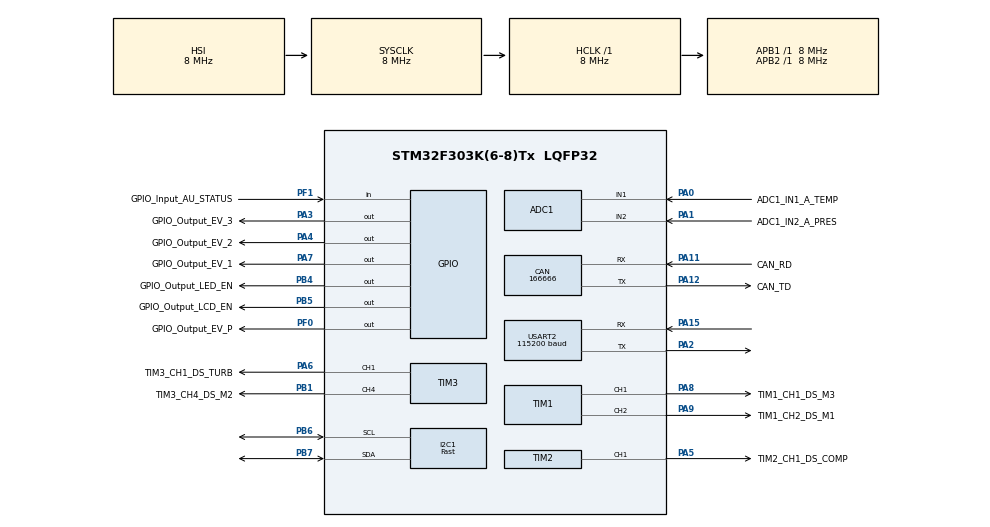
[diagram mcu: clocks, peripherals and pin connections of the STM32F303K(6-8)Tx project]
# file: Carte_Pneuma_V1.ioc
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ADC1.Channel-0\#ChannelRegularConversion=ADC_CHANNEL_1
ADC1.NbrOfConversionFlag=1
ADC1.Offset-0\#ChannelRegularConversion=0
ADC1.OffsetNumber-0\#ChannelRegularConversion=ADC_OFFSET_NONE
ADC1.Rank-0\#ChannelRegularConversion=1
ADC1.SamplingTime-0\#ChannelRegularConversion=ADC_SAMPLETIME_1CYCLE_5
ADC1.SamplingTimeOPAMP-0\#ChannelRegularConversion=ADC_SAMPLETIME_4CYCLES_5
ADC1.SingleDiff-0\#ChannelRegularConversion=ADC_DIFFERENTIAL_ENDED
ADC1.SubFamily=STM32F303x8
ADC1.master=1
CAN.CalculateBaudRate=166666
CAN.CalculateTimeBit=6000
CAN.CalculateTimeQuantum=2000.0
Dma.Request0=TIM1_CH1
Dma.TIM1_CH1.0.Direction=DMA_PERIPH_TO_MEMORY
Dma.TIM1_CH1.0.Instance=DMA1_Channel2
Dma.TIM1_CH1.0.MemDataAlignment=DMA_MDATAALIGN_HALFWORD
Dma.TIM1_CH1.0.MemInc=DMA_MINC_ENABLE
Dma.TIM1_CH1.0.Mode=DMA_NORMAL
Dma.TIM1_CH1.0.PeriphDataAlignment=DMA_PDATAALIGN_HALFWORD
Dma.TIM1_CH1.0.PeriphInc=DMA_PINC_DISABLE
Dma.TIM1_CH1.0.Priority=DMA_PRIORITY_LOW
I2C1.I2C_Speed_Mode=I2C_Fast
I2C1.Timing=0x0000020B
Mcu.Family=STM32F3
Mcu.Name=STM32F303K(6-8)Tx
Mcu.Package=LQFP32
NVIC.DMA1_Channel2_IRQn=true\:0\:0\:false\:false\:true\:false\:true\:true
NVIC.PriorityGroup=NVIC_PRIORITYGROUP_4
PA0.GPIO_Label=ADC1_IN1_A_TEMP
PA0.Mode=IN1-Differential
PA0.Signal=ADC1_IN1
PA1.GPIO_Label=ADC1_IN2_A_PRES
PA1.Mode=IN1-Differential
PA1.Signal=ADC1_IN2
PA11.GPIO_Label=CAN_RD
PA11.Mode=CAN_Activate
PA11.Signal=CAN_RX
PA12.GPIO_Label=CAN_TD
PA12.Mode=CAN_Activate
PA12.Signal=CAN_TX
PA15.Mode=Asynchronous
PA15.Signal=USART2_RX
PA2.Mode=Asynchronous
PA2.Signal=USART2_TX
PA3.GPIO_Label=GPIO_Output_EV_3
PA3.Signal=GPIO_Output
PA4.GPIO_Label=GPIO_Output_EV_2
PA4.Signal=GPIO_Output
PA5.GPIO_Label=TIM2_CH1_DS_COMP
PA5.Signal=S_TIM2_CH1_ETR
PA6.GPIO_Label=TIM3_CH1_DS_TURB
PA6.Signal=S_TIM3_CH1
PA7.GPIO_Label=GPIO_Output_EV_1
PA7.Signal=GPIO_Output
PA8.GPIO_Label=TIM1_CH1_DS_M3
PA8.Signal=S_TIM1_CH1
PA9.GPIO_Label=TIM1_CH2_DS_M1
PA9.Signal=S_TIM1_CH2
PB1.GPIO_Label=TIM3_CH4_DS_M2
PB1.Signal=S_TIM3_CH4
PB4.GPIO_Label=GPIO_Output_LED_EN
PB4.Signal=GPIO_Output
PB5.GPIO_Label=GPIO_Output_LCD_EN
PB5.Signal=GPIO_Output
PB6.Mode=I2C
PB6.Signal=I2C1_SCL
PB7.Mode=I2C
PB7.Signal=I2C1_SDA
PF0\ /\ OSC_IN.GPIO_Label=GPIO_Output_EV_P
PF0\ /\ OSC_IN.Signal=GPIO_Output
PF1\ /\ OSC_OUT.GPIO_Label=GPIO_Input_AU_STATUS
PF1\ /\ OSC_OUT.Signal=GPIO_Input
ProjectManager.HeapSize=0x200
ProjectManager.StackSize=0x400
ProjectManager.TargetToolchain=STM32CubeIDE
RCC.AHBFreq_Value=8000000
RCC.APB1Freq_Value=8000000
RCC.APB2Freq_Value=8000000
RCC.CortexFreq_Value=8000000
RCC.HSE_VALUE=8000000
RCC.HSI_VALUE=8000000
RCC.PLLMUL=RCC_PLL_MUL4
RCC.SYSCLKFreq_VALUE=8000000
SH.S_TIM1_CH1.0=TIM1_CH1,PWM Generation1 CH1
SH.S_TIM1_CH2.0=TIM1_CH2,PWM Generation2 CH2
SH.S_TIM2_CH1_ETR.0=TIM2_CH1,PWM Generation1 CH1
SH.S_TIM3_CH1.0=TIM3_CH1,PWM Generation1 CH1
SH.S_TIM3_CH4.0=TIM3_CH4,PWM Generation4 CH4
TIM1.Channel-PWM\ Generation1\ CH1=TIM_CHANNEL_1
TIM1.Channel-PWM\ Generation2\ CH2=TIM_CHANNEL_2
TIM2.Channel-PWM\ Generation1\ CH1=TIM_CHANNEL_1
TIM3.Channel-PWM\ Generation1\ CH1=TIM_CHANNEL_1
TIM3.Channel-PWM\ Generation4\ CH4=TIM_CHANNEL_4
USART2.BaudRate=115200
USART2.VirtualMode-Asynchronous=VM_ASYNC
board=custom

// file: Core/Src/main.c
/* USER CODE BEGIN Header */
/**
  ******************************************************************************
  * @file           : main.c
  * @brief          : Main program body
  ******************************************************************************
  * @attention
  *
  * Copyright (c) 2023 STMicroelectronics.
  * All rights reserved.
  *
  * This software is licensed under terms that can be found in the LICENSE file
  * in the root directory of this software component.
  * If no LICENSE file comes with this software, it is provided AS-IS.
  *
  ******************************************************************************
  */
/* USER CODE END Header */
#include "main.h"
#include <math.h>

ADC_HandleTypeDef hadc1;

CAN_HandleTypeDef hcan;

I2C_HandleTypeDef hi2c1;

TIM_HandleTypeDef htim1;
TIM_HandleTypeDef htim2;
TIM_HandleTypeDef htim3;
DMA_HandleTypeDef hdma_tim1_ch1;

UART_HandleTypeDef huart2;

void SystemClock_Config(void);
static void MX_GPIO_Init(void);
static void MX_DMA_Init(void);
static void MX_ADC1_Init(void);
static void MX_CAN_Init(void);
static void MX_TIM1_Init(void);
static void MX_I2C1_Init(void);
static void MX_USART2_UART_Init(void);
static void MX_TIM2_Init(void);
static void MX_TIM3_Init(void);

int main(void)
{
  /* USER CODE BEGIN 1 */

    //HAL_StatusTypeDef res;
    uint8_t command_buffer[1]; // Signal commande Rpi -> Nucléo, pas de log pour l'instant donc taille de 1
    uint8_t buffer_return[50]; //infos retournée Nucléo -> Rpi
    uint8_t I2C_buf[4]; //Infos I2C : P_sensor (4 bytes) ou T_sensor_Comp (?? bytes)
    uint8_t p_buf[4]; //Pression P_sensor (2 bytes) et température P_sensor (2 bytes)
    uint8_t uart_buf[20]; //pour print quand phases de Debug
    //garder les logs des commandes
    //partie pression
      float Press_order = 1;
      float pressure_val;
	  //SENP:  Pressure sensor sensitivity : 4.196 ×10-2
      float SENP = 0.04196;
	  //PMIN: Min Pressure output : -100 kPa

	  //OUTP_MIN: digital output at Pmin = 3277
	  //P15bit = PH & PL

  /* USER CODE END 1 */

  /* MCU Configuration--------------------------------------------------------*/

  /* Reset of all peripherals, Initializes the Flash interface and the Systick. */
  HAL_Init();

  /* Configure the system clock */
  SystemClock_Config();

  /* Initialize all configured peripherals */
  MX_GPIO_Init();
  MX_DMA_Init();
  MX_ADC1_Init();
  MX_CAN_Init();
  MX_TIM1_Init();
  MX_I2C1_Init();
  MX_USART2_UART_Init();
  MX_TIM2_Init();
  MX_TIM3_Init();
  /* USER CODE BEGIN 2 */

  /*//Méthodes pour buffers (conversion int=>binaire & conversion binaire=>ascii)
  void buffer_to_zero(uint8_t *buf){
	  for (int i = 0; i < 80; i++){
		  buf[i] = 0;
	  }
  }

  void buf_to_binary(uint8_t *buf, uint8_t val){
	  buffer_to_zero(buf);
	  for (int i = 0; i <= 7; i++){
		  buf[i] = val/(int)pow(2,7-i);
		  val = val%(int)pow(2,7-i);
	  }
  }

  void binary_to_ascii(uint8_t *buf){
	  for(int i = 0; i < sizeof(buf); i++){
		  if (buf[i]==0){buf[i] = 30;}
		  else{buf[i] = 31;}
	  }
  }
  */

  /* USER CODE END 2 */

  /* Infinite loop */
  /* USER CODE BEGIN WHILE */
  while (1)
  {
	//fréquence recommandée de boucle totale : 10Hz

	//Réception du mot de 8 Bit de Goldo (par UART à priori)
	  //à compléter

	//Lecture de la pression en I2C et activation OU NON du compresseur en fonction
	  res = HAL_I2C_Master_Receive(&hi2c, 0xf1, I2C_buf, 4, 200);
	  if (res == HAL_OK){
		  //Régulation Pression
		  //Lecture de la pression ET de la température => déterminer un Offset pour tout le match sur les vals de pression ? (voire toutes les 10 secondes)
		  sprintf((char*)p_buf, "I2C : %d %d %d %d\r\n", (int)I2C_buf[0], (int)I2C_buf[1], (int)I2C_buf[2], (int)I2C_buf[3]);
		  //Pressure [kPa] = [(P15bit - OUTP_MIN) ×SENP)] + PMIN
		  //voir infos_pressure_sensor plus haut pour infos sur variables

		  int P15bit = (int)((I2C_buf[0] << 8)|I2C_buf[1]);
		  pressure_val = [(P15bit - OUTP_MIN)*SENP)] + PMIN;

		  if (pressure_val > pressure_order){ //à compléter : arrêter compresseur
		  }
		  else if (pressure_val < pressure_order) { //à compléter : démarrer compresseur
		  }
		  else {break;}
		  //retourner à la Rpi la pression courante du réservoir entre 0.0 et 1.0 par incrément de 0.1

	  }
	  else {
		  buffer_return[7]=1; //à modifier en fonction du reste du code
	  }

	//Lecture Température du compresseur réservoir et activation ou désactivation du compresseur en fonction SSI il est pas déjà désactivé
	  //si Température critique, arrêter le compresseur
	  //retourner l'erreur Crit_Temp à la Rpi

	//AJOUTER un module pour chronométrer + tout reset après 100s (fin de match) en mode match.
	//Mettre un Gros Switch : passer sur un des 4 modes en fonction des 2 premiers bits du mot binaire :
	switch(command_buffer[0] >> 6){
		case 0:
			//Mode 1 [00] : Reset ou arrêt compresseur seul
				//à compléter : arrêter le compresseur
			break;
		case 1:
			/*//Mode 2 [01]: Canons
			 	 //Activer chaque canon avec une des trois vitesses demandées (dépendra de la balistique)
			*/
			break;
		case 2:
			//Mode 3 [10]: Compresseur
				 //[000000] : arrêt Compresseur + Purge EV4
				   //à Compléter arrêt D-Shot_COMP
				   HAL_GPIO_WritePin(GPIOF, GPIO_PIN_0, GPIO_PIN_RESET);
				 //[PPPPPP] : Val de consigne Pression, à récup SSI différente pour régulation au prochain tour de boucle
				   if (command_buffer[0] ^ (2 << 6) != Press_order){ Press_order = binary_to_dec(command_buffer, 7, 2); }
			break;
		case 3:
		    //Mode 4 [11]: electrovannes + Purge si Aust / Turbine
				 //4*1 bits(ABCE) pour les EV (ordre du code : A: EV1, B: EV2, C: EV3, E: EV_Purge). On change les GPIO que si ça n'a pas déjà été fait avant
			     if(command_buffer[0] & 32 != HAL_GPIO_ReadPin(GPIOA, GPIO_PIN_7)){ HAL_GPIO_TogglePin(GPIOA, GPIO_PIN_7); }
			     if(command_buffer[0] & 16 != HAL_GPIO_ReadPin(GPIOA, GPIO_PIN_4)){ HAL_GPIO_TogglePin(GPIOA, GPIO_PIN_4); }
			     if(command_buffer[0] & 8 != HAL_GPIO_ReadPin(GPIOA, GPIO_PIN_3)){ HAL_GPIO_TogglePin(GPIOA, GPIO_PIN_3); }
			     if(command_buffer[0] & 4 != HAL_GPIO_ReadPin(GPIOF, GPIO_PIN_0)){ HAL_GPIO_TogglePin(GPIOF, GPIO_PIN_0); }

				 //Purge si signal d'urgence (voir GPIO_AU_status)
				 if(HAL_GPIO_ReadPin(GPIOF, GPIO_PIN_1) == 1 && command_buffer[0] & 4 != HAL_GPIO_ReadPin(GPIOF, GPIO_PIN_0)){ HAL_GPIO_WritePin(GPIOF, GPIO_PIN_0, GPIO_PIN_RESET); }
				 //2*1 bits(FF) pour la turbine (arrêt: [00], vitesse_1: [01], vitesse_2: [10], vitesse_3: [11])
				   //à Compléter
			break;
	}

	/*//Tests écritures buffers + conversion int => binaire dans buffers

	buf_new[0] = 41;
	buf_to_binary(buf_new, buf_new[0]);
	uint8_t buf_new[80];
	binary_to_ascii(buf_new);

	//sprintf((char*)buf, "Valeur : %d", (int)buf[0]);
	HAL_UART_Transmit(&huart2, buf_new, 1, HAL_MAX_DELAY);
	*/

	HAL_Delay(1000);
    /* USER CODE END WHILE */
  }
}

void SystemClock_Config(void)
{
  RCC_OscInitTypeDef RCC_OscInitStruct = {0};
  RCC_ClkInitTypeDef RCC_ClkInitStruct = {0};
  RCC_PeriphCLKInitTypeDef PeriphClkInit = {0};

  /** Initializes the RCC Oscillators according to the specified parameters
  * in the RCC_OscInitTypeDef structure.
  */
  RCC_OscInitStruct.OscillatorType = RCC_OSCILLATORTYPE_HSI;
  RCC_OscInitStruct.HSIState = RCC_HSI_ON;
  RCC_OscInitStruct.HSICalibrationValue = RCC_HSICALIBRATION_DEFAULT;
  RCC_OscInitStruct.PLL.PLLState = RCC_PLL_ON;
  RCC_OscInitStruct.PLL.PLLSource = RCC_PLLSOURCE_HSI;
  RCC_OscInitStruct.PLL.PLLMUL = RCC_PLL_MUL4;
  if (HAL_RCC_OscConfig(&RCC_OscInitStruct) != HAL_OK)
  {
    Error_Handler();
  }

  /** Initializes the CPU, AHB and APB buses clocks
  */
  RCC_ClkInitStruct.ClockType = RCC_CLOCKTYPE_HCLK|RCC_CLOCKTYPE_SYSCLK
                              |RCC_CLOCKTYPE_PCLK1|RCC_CLOCKTYPE_PCLK2;
  RCC_ClkInitStruct.SYSCLKSource = RCC_SYSCLKSOURCE_HSI;
  RCC_ClkInitStruct.AHBCLKDivider = RCC_SYSCLK_DIV1;
  RCC_ClkInitStruct.APB1CLKDivider = RCC_HCLK_DIV1;
  RCC_ClkInitStruct.APB2CLKDivider = RCC_HCLK_DIV1;

  if (HAL_RCC_ClockConfig(&RCC_ClkInitStruct, FLASH_LATENCY_0) != HAL_OK)
  {
    Error_Handler();
  }
  PeriphClkInit.PeriphClockSelection = RCC_PERIPHCLK_I2C1|RCC_PERIPHCLK_TIM1
                              |RCC_PERIPHCLK_ADC12;
  PeriphClkInit.Adc12ClockSelection = RCC_ADC12PLLCLK_DIV1;
  PeriphClkInit.I2c1ClockSelection = RCC_I2C1CLKSOURCE_HSI;
  PeriphClkInit.Tim1ClockSelection = RCC_TIM1CLK_HCLK;
  if (HAL_RCCEx_PeriphCLKConfig(&PeriphClkInit) != HAL_OK)
  {
    Error_Handler();
  }
}

static void MX_ADC1_Init(void)
{

  ADC_MultiModeTypeDef multimode = {0};
  ADC_ChannelConfTypeDef sConfig = {0};

  /** Common config
  */
  hadc1.Instance = ADC1;
  hadc1.Init.ClockPrescaler = ADC_CLOCK_ASYNC_DIV1;
  hadc1.Init.Resolution = ADC_RESOLUTION_12B;
  hadc1.Init.ScanConvMode = ADC_SCAN_DISABLE;
  hadc1.Init.ContinuousConvMode = DISABLE;
  hadc1.Init.DiscontinuousConvMode = DISABLE;
  hadc1.Init.ExternalTrigConvEdge = ADC_EXTERNALTRIGCONVEDGE_NONE;
  hadc1.Init.ExternalTrigConv = ADC_SOFTWARE_START;
  hadc1.Init.DataAlign = ADC_DATAALIGN_RIGHT;
  hadc1.Init.NbrOfConversion = 1;
  hadc1.Init.DMAContinuousRequests = DISABLE;
  hadc1.Init.EOCSelection = ADC_EOC_SINGLE_CONV;
  hadc1.Init.LowPowerAutoWait = DISABLE;
  hadc1.Init.Overrun = ADC_OVR_DATA_OVERWRITTEN;
  if (HAL_ADC_Init(&hadc1) != HAL_OK)
  {
    Error_Handler();
  }

  /** Configure the ADC multi-mode
  */
  multimode.Mode = ADC_MODE_INDEPENDENT;
  if (HAL_ADCEx_MultiModeConfigChannel(&hadc1, &multimode) != HAL_OK)
  {
    Error_Handler();
  }

  /** Configure Regular Channel
  */
  sConfig.Channel = ADC_CHANNEL_1;
  sConfig.Rank = ADC_REGULAR_RANK_1;
  sConfig.SingleDiff = ADC_DIFFERENTIAL_ENDED;
  sConfig.SamplingTime = ADC_SAMPLETIME_1CYCLE_5;
  sConfig.OffsetNumber = ADC_OFFSET_NONE;
  sConfig.Offset = 0;
  if (HAL_ADC_ConfigChannel(&hadc1, &sConfig) != HAL_OK)
  {
    Error_Handler();
  }

}

static void MX_CAN_Init(void)
{

  hcan.Instance = CAN;
  hcan.Init.Prescaler = 16;
  hcan.Init.Mode = CAN_MODE_NORMAL;
  hcan.Init.SyncJumpWidth = CAN_SJW_1TQ;
  hcan.Init.TimeSeg1 = CAN_BS1_1TQ;
  hcan.Init.TimeSeg2 = CAN_BS2_1TQ;
  hcan.Init.TimeTriggeredMode = DISABLE;
  hcan.Init.AutoBusOff = DISABLE;
  hcan.Init.AutoWakeUp = DISABLE;
  hcan.Init.AutoRetransmission = DISABLE;
  hcan.Init.ReceiveFifoLocked = DISABLE;
  hcan.Init.TransmitFifoPriority = DISABLE;
  if (HAL_CAN_Init(&hcan) != HAL_OK)
  {
    Error_Handler();
  }

}

static void MX_I2C1_Init(void)
{

  hi2c1.Instance = I2C1;
  hi2c1.Init.Timing = 0x0000020B;
  hi2c1.Init.OwnAddress1 = 0;
  hi2c1.Init.AddressingMode = I2C_ADDRESSINGMODE_7BIT;
  hi2c1.Init.DualAddressMode = I2C_DUALADDRESS_DISABLE;
  hi2c1.Init.OwnAddress2 = 0;
  hi2c1.Init.OwnAddress2Masks = I2C_OA2_NOMASK;
  hi2c1.Init.GeneralCallMode = I2C_GENERALCALL_DISABLE;
  hi2c1.Init.NoStretchMode = I2C_NOSTRETCH_DISABLE;
  if (HAL_I2C_Init(&hi2c1) != HAL_OK)
  {
    Error_Handler();
  }

  /** Configure Analogue filter
  */
  if (HAL_I2CEx_ConfigAnalogFilter(&hi2c1, I2C_ANALOGFILTER_ENABLE) != HAL_OK)
  {
    Error_Handler();
  }

  /** Configure Digital filter
  */
  if (HAL_I2CEx_ConfigDigitalFilter(&hi2c1, 0) != HAL_OK)
  {
    Error_Handler();
  }

}

static void MX_TIM1_Init(void)
{

  TIM_MasterConfigTypeDef sMasterConfig = {0};
  TIM_OC_InitTypeDef sConfigOC = {0};
  TIM_BreakDeadTimeConfigTypeDef sBreakDeadTimeConfig = {0};

  htim1.Instance = TIM1;
  htim1.Init.Prescaler = 0;
  htim1.Init.CounterMode = TIM_COUNTERMODE_UP;
  htim1.Init.Period = 65535;
  htim1.Init.ClockDivision = TIM_CLOCKDIVISION_DIV1;
  htim1.Init.RepetitionCounter = 0;
  htim1.Init.AutoReloadPreload = TIM_AUTORELOAD_PRELOAD_DISABLE;
  if (HAL_TIM_PWM_Init(&htim1) != HAL_OK)
  {
    Error_Handler();
  }
  sMasterConfig.MasterOutputTrigger = TIM_TRGO_RESET;
  sMasterConfig.MasterOutputTrigger2 = TIM_TRGO2_RESET;
  sMasterConfig.MasterSlaveMode = TIM_MASTERSLAVEMODE_DISABLE;
  if (HAL_TIMEx_MasterConfigSynchronization(&htim1, &sMasterConfig) != HAL_OK)
  {
    Error_Handler();
  }
  sConfigOC.OCMode = TIM_OCMODE_PWM1;
  sConfigOC.Pulse = 0;
  sConfigOC.OCPolarity = TIM_OCPOLARITY_HIGH;
  sConfigOC.OCNPolarity = TIM_OCNPOLARITY_HIGH;
  sConfigOC.OCFastMode = TIM_OCFAST_DISABLE;
  sConfigOC.OCIdleState = TIM_OCIDLESTATE_RESET;
  sConfigOC.OCNIdleState = TIM_OCNIDLESTATE_RESET;
  if (HAL_TIM_PWM_ConfigChannel(&htim1, &sConfigOC, TIM_CHANNEL_1) != HAL_OK)
  {
    Error_Handler();
  }
  if (HAL_TIM_PWM_ConfigChannel(&htim1, &sConfigOC, TIM_CHANNEL_2) != HAL_OK)
  {
    Error_Handler();
  }
  sBreakDeadTimeConfig.OffStateRunMode = TIM_OSSR_DISABLE;
  sBreakDeadTimeConfig.OffStateIDLEMode = TIM_OSSI_DISABLE;
  sBreakDeadTimeConfig.LockLevel = TIM_LOCKLEVEL_OFF;
  sBreakDeadTimeConfig.DeadTime = 0;
  sBreakDeadTimeConfig.BreakState = TIM_BREAK_DISABLE;
  sBreakDeadTimeConfig.BreakPolarity = TIM_BREAKPOLARITY_HIGH;
  sBreakDeadTimeConfig.BreakFilter = 0;
  sBreakDeadTimeConfig.Break2State = TIM_BREAK2_DISABLE;
  sBreakDeadTimeConfig.Break2Polarity = TIM_BREAK2POLARITY_HIGH;
  sBreakDeadTimeConfig.Break2Filter = 0;
  sBreakDeadTimeConfig.AutomaticOutput = TIM_AUTOMATICOUTPUT_DISABLE;
  if (HAL_TIMEx_ConfigBreakDeadTime(&htim1, &sBreakDeadTimeConfig) != HAL_OK)
  {
    Error_Handler();
  }
  HAL_TIM_MspPostInit(&htim1);

}

static void MX_TIM2_Init(void)
{

  TIM_MasterConfigTypeDef sMasterConfig = {0};
  TIM_OC_InitTypeDef sConfigOC = {0};

  htim2.Instance = TIM2;
  htim2.Init.Prescaler = 0;
  htim2.Init.CounterMode = TIM_COUNTERMODE_UP;
  htim2.Init.Period = 4294967295;
  htim2.Init.ClockDivision = TIM_CLOCKDIVISION_DIV1;
  htim2.Init.AutoReloadPreload = TIM_AUTORELOAD_PRELOAD_DISABLE;
  if (HAL_TIM_PWM_Init(&htim2) != HAL_OK)
  {
    Error_Handler();
  }
  sMasterConfig.MasterOutputTrigger = TIM_TRGO_RESET;
  sMasterConfig.MasterSlaveMode = TIM_MASTERSLAVEMODE_DISABLE;
  if (HAL_TIMEx_MasterConfigSynchronization(&htim2, &sMasterConfig) != HAL_OK)
  {
    Error_Handler();
  }
  sConfigOC.OCMode = TIM_OCMODE_PWM1;
  sConfigOC.Pulse = 0;
  sConfigOC.OCPolarity = TIM_OCPOLARITY_HIGH;
  sConfigOC.OCFastMode = TIM_OCFAST_DISABLE;
  if (HAL_TIM_PWM_ConfigChannel(&htim2, &sConfigOC, TIM_CHANNEL_1) != HAL_OK)
  {
    Error_Handler();
  }
  HAL_TIM_MspPostInit(&htim2);

}

static void MX_TIM3_Init(void)
{

  TIM_MasterConfigTypeDef sMasterConfig = {0};
  TIM_OC_InitTypeDef sConfigOC = {0};

  htim3.Instance = TIM3;
  htim3.Init.Prescaler = 0;
  htim3.Init.CounterMode = TIM_COUNTERMODE_UP;
  htim3.Init.Period = 65535;
  htim3.Init.ClockDivision = TIM_CLOCKDIVISION_DIV1;
  htim3.Init.AutoReloadPreload = TIM_AUTORELOAD_PRELOAD_DISABLE;
  if (HAL_TIM_PWM_Init(&htim3) != HAL_OK)
  {
    Error_Handler();
  }
  sMasterConfig.MasterOutputTrigger = TIM_TRGO_RESET;
  sMasterConfig.MasterSlaveMode = TIM_MASTERSLAVEMODE_DISABLE;
  if (HAL_TIMEx_MasterConfigSynchronization(&htim3, &sMasterConfig) != HAL_OK)
  {
    Error_Handler();
  }
  sConfigOC.OCMode = TIM_OCMODE_PWM1;
  sConfigOC.Pulse = 0;
  sConfigOC.OCPolarity = TIM_OCPOLARITY_HIGH;
  sConfigOC.OCFastMode = TIM_OCFAST_DISABLE;
  if (HAL_TIM_PWM_ConfigChannel(&htim3, &sConfigOC, TIM_CHANNEL_1) != HAL_OK)
  {
    Error_Handler();
  }
  if (HAL_TIM_PWM_ConfigChannel(&htim3, &sConfigOC, TIM_CHANNEL_4) != HAL_OK)
  {
    Error_Handler();
  }
  HAL_TIM_MspPostInit(&htim3);

}

static void MX_USART2_UART_Init(void)
{

  huart2.Instance = USART2;
  huart2.Init.BaudRate = 115200;
  huart2.Init.WordLength = UART_WORDLENGTH_8B;
  huart2.Init.StopBits = UART_STOPBITS_1;
  huart2.Init.Parity = UART_PARITY_NONE;
  huart2.Init.Mode = UART_MODE_TX_RX;
  huart2.Init.HwFlowCtl = UART_HWCONTROL_NONE;
  huart2.Init.OverSampling = UART_OVERSAMPLING_16;
  huart2.Init.OneBitSampling = UART_ONE_BIT_SAMPLE_DISABLE;
  huart2.AdvancedInit.AdvFeatureInit = UART_ADVFEATURE_NO_INIT;
  if (HAL_UART_Init(&huart2) != HAL_OK)
  {
    Error_Handler();
  }

}

static void MX_DMA_Init(void)
{

  /* DMA controller clock enable */
  __HAL_RCC_DMA1_CLK_ENABLE();

  /* DMA interrupt init */
  /* DMA1_Channel2_IRQn interrupt configuration */
  HAL_NVIC_SetPriority(DMA1_Channel2_IRQn, 0, 0);
  HAL_NVIC_EnableIRQ(DMA1_Channel2_IRQn);

}

static void MX_GPIO_Init(void)
{
  GPIO_InitTypeDef GPIO_InitStruct = {0};

  /* GPIO Ports Clock Enable */
  __HAL_RCC_GPIOF_CLK_ENABLE();
  __HAL_RCC_GPIOA_CLK_ENABLE();
  __HAL_RCC_GPIOB_CLK_ENABLE();

  /*Configure GPIO pin Output Level */
  HAL_GPIO_WritePin(GPIO_Output_EV_P_GPIO_Port, GPIO_Output_EV_P_Pin, GPIO_PIN_RESET);

  /*Configure GPIO pin Output Level */
  HAL_GPIO_WritePin(GPIOA, GPIO_Output_EV_3_Pin|GPIO_Output_EV_2_Pin|GPIO_Output_EV_1_Pin, GPIO_PIN_RESET);

  /*Configure GPIO pin Output Level */
  HAL_GPIO_WritePin(GPIOB, GPIO_Output_LED_EN_Pin|GPIO_Output_LCD_EN_Pin, GPIO_PIN_RESET);

  /*Configure GPIO pin : GPIO_Output_EV_P_Pin */
  GPIO_InitStruct.Pin = GPIO_Output_EV_P_Pin;
  GPIO_InitStruct.Mode = GPIO_MODE_OUTPUT_PP;
  GPIO_InitStruct.Pull = GPIO_NOPULL;
  GPIO_InitStruct.Speed = GPIO_SPEED_FREQ_LOW;
  HAL_GPIO_Init(GPIO_Output_EV_P_GPIO_Port, &GPIO_InitStruct);

  /*Configure GPIO pin : GPIO_Input_AU_STATUS_Pin */
  GPIO_InitStruct.Pin = GPIO_Input_AU_STATUS_Pin;
  GPIO_InitStruct.Mode = GPIO_MODE_INPUT;
  GPIO_InitStruct.Pull = GPIO_NOPULL;
  HAL_GPIO_Init(GPIO_Input_AU_STATUS_GPIO_Port, &GPIO_InitStruct);

  /*Configure GPIO pins : GPIO_Output_EV_3_Pin GPIO_Output_EV_2_Pin GPIO_Output_EV_1_Pin */
  GPIO_InitStruct.Pin = GPIO_Output_EV_3_Pin|GPIO_Output_EV_2_Pin|GPIO_Output_EV_1_Pin;
  GPIO_InitStruct.Mode = GPIO_MODE_OUTPUT_PP;
  GPIO_InitStruct.Pull = GPIO_NOPULL;
  GPIO_InitStruct.Speed = GPIO_SPEED_FREQ_LOW;
  HAL_GPIO_Init(GPIOA, &GPIO_InitStruct);

  /*Configure GPIO pins : GPIO_Output_LED_EN_Pin GPIO_Output_LCD_EN_Pin */
  GPIO_InitStruct.Pin = GPIO_Output_LED_EN_Pin|GPIO_Output_LCD_EN_Pin;
  GPIO_InitStruct.Mode = GPIO_MODE_OUTPUT_PP;
  GPIO_InitStruct.Pull = GPIO_NOPULL;
  GPIO_InitStruct.Speed = GPIO_SPEED_FREQ_LOW;
  HAL_GPIO_Init(GPIOB, &GPIO_InitStruct);

}

void Error_Handler(void)
{
  __disable_irq();
  while (1)
  {
  }
}
